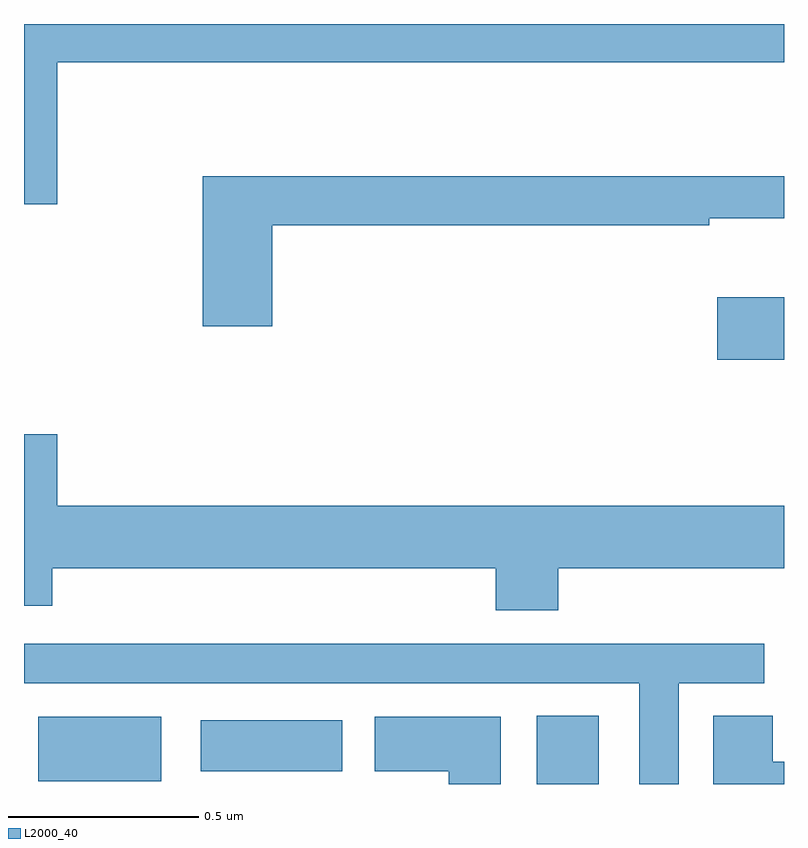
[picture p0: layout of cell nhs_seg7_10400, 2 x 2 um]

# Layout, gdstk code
import gdstk
lib = gdstk.Library(unit=1e-6, precision=1e-09)
def R(c, l, rs):  # rectangles x0, y0, x1, y1
    for r in rs: c.add(gdstk.rectangle(r[:2], r[2:], *l))
def P(c, l, *ps):  # polygons
    for p in ps: c.add(gdstk.Polygon(p, *l))
L2000_40 = (2000, 40)

nhs_seg7_10400 = lib.new_cell('nhs_seg7_10400')
R(nhs_seg7_10400, L2000_40, [(250.349,1048,250.513,1048.18), (249.038,1048.007,249.361,1048.177), (249.465,1048.034,249.838,1048.168), (250.824,1049.116,251,1049.281)])
P(nhs_seg7_10400, L2000_40, [(249.088,1049.9),(251,1049.9),(251,1050),(249,1050),(249,1049.526),(249.088,1049.526)],
  [(249.653,1049.47),(250.803,1049.47),(250.803,1049.489),(251,1049.489),(251,1049.599),(249.47,1049.599),(249.47,1049.205),(249.653,1049.205)],
  [(250.406,1048.568),(251,1048.568),(251,1048.732),(249.088,1048.732),(249.088,1048.921),(249,1048.921),(249,1048.469),(249.074,1048.469),(249.074,1048.568),(250.241,1048.568),(250.241,1048.457),(250.406,1048.457)],
  [(250.723,1048.265),(250.948,1048.265),(250.948,1048.369),(249,1048.369),(249,1048.265),(250.619,1048.265),(250.619,1048),(250.723,1048)],
  [(251,1048.058),(250.97,1048.058),(250.97,1048.18),(250.814,1048.18),(250.814,1048),(251,1048)],
  [(250.255,1048.177),(249.923,1048.177),(249.923,1048.034),(250.118,1048.034),(250.118,1048),(250.255,1048)])

lib.write_gds('nhs_seg7_10400.gds')
